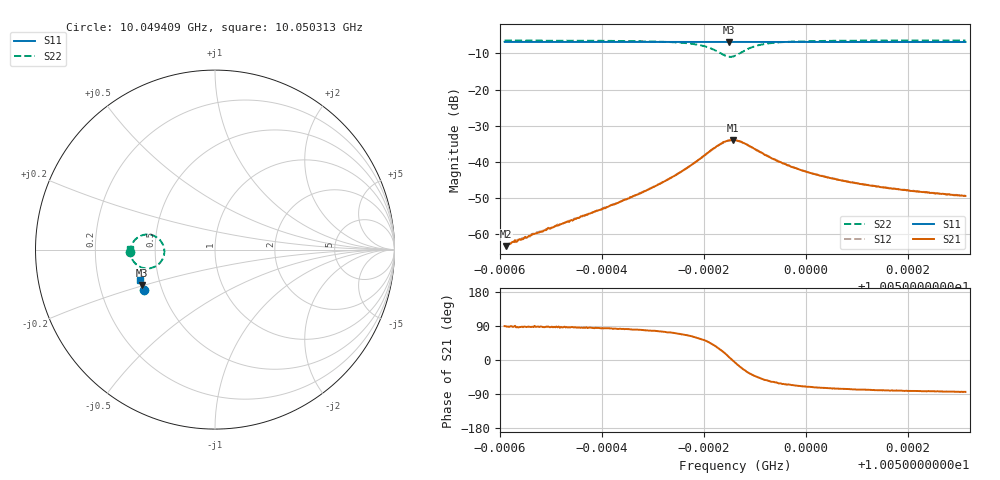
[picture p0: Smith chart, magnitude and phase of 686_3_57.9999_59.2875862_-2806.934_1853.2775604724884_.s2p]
#  HZ  S  RI  R  50.00
! Rohde & Schwarz Vector Network Analyzer
! Rohde-Schwarz,ZNB20-2Port,1311601062101988,3.16
! Created: UTC 3/21/2024, 1:21:04 AM
! freq[Hz]  re:S11  im:S11  re:S21  im:S21  re:S12  im:S12  re:S22  im:S22
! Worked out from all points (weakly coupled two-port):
!   401 points, 10.049409 GHz to 10.050313 GHz, reference 50 ohm
!   highest |S21| = -33.93 dB at 10.049856 GHz (marker M1); lowest = -63.2 dB at 10.049411 GHz (marker M2)
!   lowest |S11| = -6.9 dB at 10.04985 GHz (marker M3), VSWR 2.64, Z = 19.8 - j9.78 ohm
!   |S11| at or under -10 dB: nowhere
!   |S22| runs from -11.0 to -6.5 dB; largest |S21 - S12| = 0.0015
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1.00494088e10  -0.3952 -0.224  8.89e-06 0.000724  -2.05e-05 0.000703  -0.4739 -0.0159
1.0049411e10  -0.3953 -0.2236  1.17e-05 0.000688  -1.5e-05 0.000717  -0.4738 -0.0157
1.00494675e10  -0.3969 -0.2203  -8.1e-07 0.00102  -3e-05 0.00102  -0.4733 -0.009
1.00495602e10  -0.3997 -0.2148  0.000139 0.00177  3.9e-05 0.00177  -0.4714 0.00413
1.0049628e10  -0.4019 -0.2106  0.000352 0.00265  0.00021 0.00269  -0.4679 0.017
1.00496755e10  -0.4032 -0.2076  0.000676 0.00363  0.000468 0.00372  -0.463 0.0292
1.00497117e10  -0.4041 -0.2053  0.00121 0.00479  0.000966 0.00486  -0.456 0.0416
1.00497501e10  -0.4052 -0.2029  0.00247 0.00654  0.00211 0.00666  -0.4412 0.059
1.0049793e10  -0.406 -0.2  0.00632 0.0092  0.00581 0.00951  -0.3999 0.0814
1.00498089e10  -0.4061 -0.1989  0.00918 0.01  0.00865 0.0103  -0.3704 0.0841
1.00498247e10  -0.406 -0.198  0.0136 0.00931  0.0129 0.0101  -0.3313 0.0727
1.00498382e10  -0.4058 -0.1974  0.0176 0.00671  0.0169 0.0074  -0.2981 0.0422
1.00498495e10  -0.4058 -0.197  0.0197 0.00238  0.0194 0.00373  -0.2828 0.00124
1.00498563e10  -0.4059 -0.197  0.0201 -0.000413  0.0199 0.000947  -0.2836 -0.0263
1.00498608e10  -0.406 -0.197  0.0197 -0.00232  0.0198 -0.000863  -0.2882 -0.0437
1.00498834e10  -0.4071 -0.1963  0.015 -0.00894  0.0158 -0.00776  -0.3419 -0.0982
1.00499151e10  -0.4085 -0.1948  0.00844 -0.0102  0.00902 -0.00957  -0.4087 -0.0996
1.0049958e10  -0.4103 -0.1919  0.00412 -0.00844  0.00478 -0.00814  -0.4467 -0.0748
1.00500123e10  -0.4118 -0.1886  0.00222 -0.00658  0.00261 -0.00646  -0.4631 -0.051
1.00500824e10  -0.4137 -0.1845  0.00122 -0.0052  0.00155 -0.00514  -0.4705 -0.0313
1.00501637e10  -0.4158 -0.1792  0.000696 -0.00426  0.000979 -0.00426  -0.4737 -0.0164
1.00503129e10  -0.4194 -0.1703  0.000349 -0.00338  0.00058 -0.00336  -0.4753 0.00257
